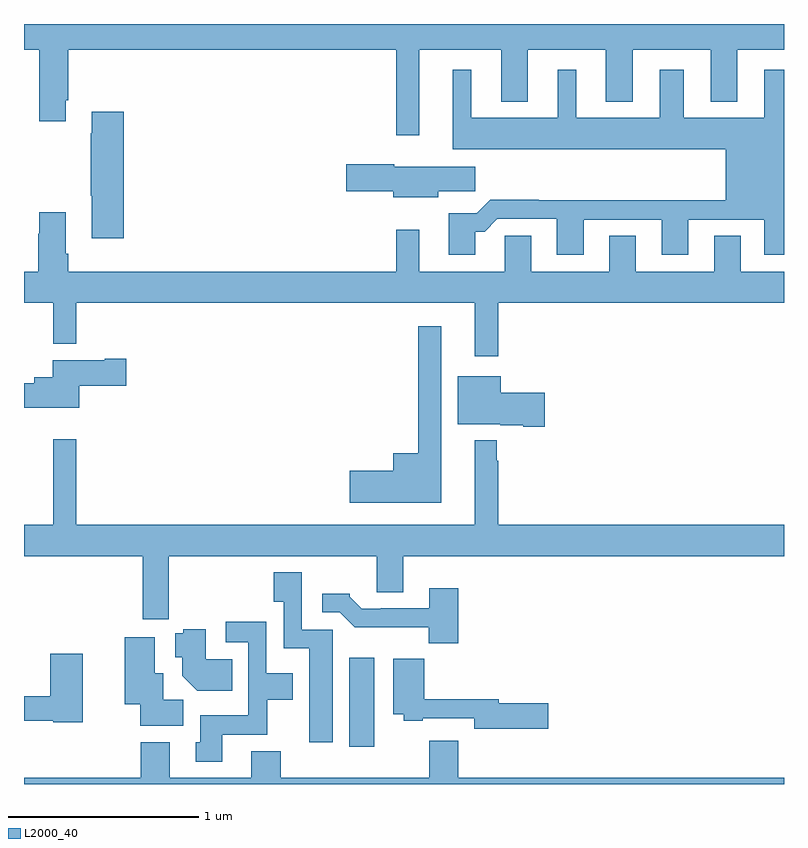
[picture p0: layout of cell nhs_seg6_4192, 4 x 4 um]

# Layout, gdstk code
import gdstk
lib = gdstk.Library(unit=1e-6, precision=1e-09)
def R(c, l, rs):  # rectangles x0, y0, x1, y1
    for r in rs: c.add(gdstk.rectangle(r[:2], r[2:], *l))
def P(c, l, *ps):  # polygons
    for p in ps: c.add(gdstk.Polygon(p, *l))
L2000_40 = (2000, 40)

nhs_seg6_4192 = lib.new_cell('nhs_seg6_4192')
R(nhs_seg6_4192, L2000_40, [(360.713,915.696,360.844,916.165)])
P(nhs_seg6_4192, L2000_40, [(361.081,919.364),(361.511,919.364),(361.511,919.091),(361.651,919.091),(361.651,919.364),(362.063,919.364),(362.063,919.091),(362.203,919.091),(362.203,919.364),(362.615,919.364),(362.615,919.091),(362.755,919.091),(362.755,919.364),(363,919.364),(363,919.5),(359,919.5),(359,919.364),(359.081,919.364),(359.081,918.987),(359.221,918.987),(359.221,919.099),(359.234,919.099),(359.234,919.364),(360.96,919.364),(360.96,918.915),(361.081,918.915)],
  [(361.375,918.407),(361.424,918.407),(361.491,918.474),(361.805,918.474),(361.805,918.285),(361.945,918.285),(361.945,918.471),(362.357,918.471),(362.357,918.285),(362.497,918.285),(362.497,918.471),(362.897,918.471),(362.897,918.285),(363,918.285),(363,919.258),(362.897,919.258),(362.897,919.006),(362.473,919.006),(362.473,919.258),(362.345,919.258),(362.345,919.006),(361.906,919.006),(361.906,919.258),(361.808,919.258),(361.808,919.006),(361.354,919.006),(361.354,919.258),(361.256,919.258),(361.256,918.842),(362.693,918.842),(362.693,918.572),(361.709,918.572),(361.709,918.575),(361.454,918.575),(361.384,918.505),(361.235,918.505),(361.235,918.285),(361.375,918.285)],
  [(359.525,919.039),(359.357,919.039),(359.357,918.926),(359.35,918.926),(359.35,918.595),(359.357,918.595),(359.357,918.372),(359.525,918.372)],
  [(361.18,918.619),(361.375,918.619),(361.375,918.748),(360.948,918.748),(360.948,918.761),(360.696,918.761),(360.696,918.619),(360.944,918.619),(360.944,918.587),(361.18,918.587)],
  [(361.495,918.032),(363,918.032),(363,918.196),(362.773,918.196),(362.773,918.386),(362.633,918.386),(362.633,918.196),(362.221,918.196),(362.221,918.386),(362.081,918.386),(362.081,918.196),(361.669,918.196),(361.669,918.386),(361.53,918.386),(361.53,918.196),(361.081,918.196),(361.081,918.418),(360.96,918.418),(360.96,918.196),(359.234,918.196),(359.234,918.292),(359.221,918.292),(359.221,918.508),(359.081,918.508),(359.081,918.395),(359.074,918.395),(359.074,918.196),(359,918.196),(359,918.032),(359.153,918.032),(359.153,917.816),(359.275,917.816),(359.275,918.032),(361.373,918.032),(361.373,917.751),(361.495,917.751)],
  [(361.195,917.908),(361.074,917.908),(361.074,917.242),(360.944,917.242),(360.944,917.15),(360.714,917.15),(360.714,916.979),(361.195,916.979)],
  [(359.29,917.597),(359.539,917.597),(359.539,917.739),(359.426,917.739),(359.426,917.731),(359.15,917.731),(359.15,917.641),(359.054,917.641),(359.054,917.609),(359,917.609),(359,917.48),(359.29,917.48)],
  [(361.741,917.559),(361.51,917.559),(361.51,917.647),(361.283,917.647),(361.283,917.393),(361.506,917.393),(361.506,917.387),(361.628,917.387),(361.628,917.381),(361.741,917.381)],
  [(359.761,916.48),(359.762,916.48),(359.762,916.7),(360.857,916.7),(360.857,916.51),(360.997,916.51),(360.997,916.7),(363,916.7),(363,916.864),(361.495,916.864),(361.495,917.201),(361.487,917.201),(361.487,917.308),(361.373,917.308),(361.373,916.864),(359.275,916.864),(359.275,917.314),(359.153,917.314),(359.153,916.864),(359,916.864),(359,916.7),(359.626,916.7),(359.626,916.368),(359.761,916.368)],
  [(360.625,916.311),(360.462,916.311),(360.462,916.615),(360.314,916.615),(360.314,916.459),(360.366,916.459),(360.366,916.214),(360.5,916.214),(360.5,915.72),(360.625,915.72)],
  [(361.286,916.531),(361.133,916.531),(361.133,916.425),(360.877,916.425),(360.877,916.422),(360.778,916.422),(360.714,916.486),(360.714,916.501),(360.57,916.501),(360.57,916.404),(360.663,916.404),(360.742,916.326),(361.131,916.326),(361.131,916.241),(361.286,916.241)],
  [(360.043,915.758),(360.279,915.758),(360.279,915.944),(360.415,915.944),(360.415,916.084),(360.276,916.084),(360.276,916.354),(360.063,916.354),(360.063,916.245),(360.18,916.245),(360.18,915.862),(359.927,915.862),(359.927,915.72),(359.903,915.72),(359.903,915.618),(360.043,915.618)],
  [(360.095,916.156),(359.956,916.156),(359.956,916.314),(359.838,916.314),(359.838,916.294),(359.796,916.294),(359.796,916.166),(359.834,916.166),(359.834,916.07),(359.912,915.992),(360.095,915.992)],
  [(359.839,915.944),(359.734,915.944),(359.734,916.084),(359.689,916.084),(359.689,916.273),(359.531,916.273),(359.531,915.92),(359.612,915.92),(359.612,915.806),(359.839,915.806)],
  [(359.308,916.186),(359.138,916.186),(359.138,915.962),(359,915.962),(359,915.834),(359.154,915.834),(359.154,915.826),(359.308,915.826)],
  [(361.759,915.926),(361.498,915.926),(361.498,915.947),(361.106,915.947),(361.106,916.159),(360.944,916.159),(360.944,915.866),(360.999,915.866),(360.999,915.834),(361.099,915.834),(361.099,915.846),(361.37,915.846),(361.37,915.791),(361.759,915.791)],
  [(363,915.532),(361.286,915.532),(361.286,915.727),(361.133,915.727),(361.133,915.532),(360.35,915.532),(360.35,915.673),(360.197,915.673),(360.197,915.532),(359.767,915.532),(359.767,915.721),(359.615,915.721),(359.615,915.532),(359,915.532),(359,915.5),(363,915.5)])

lib.write_gds('nhs_seg6_4192.gds')
